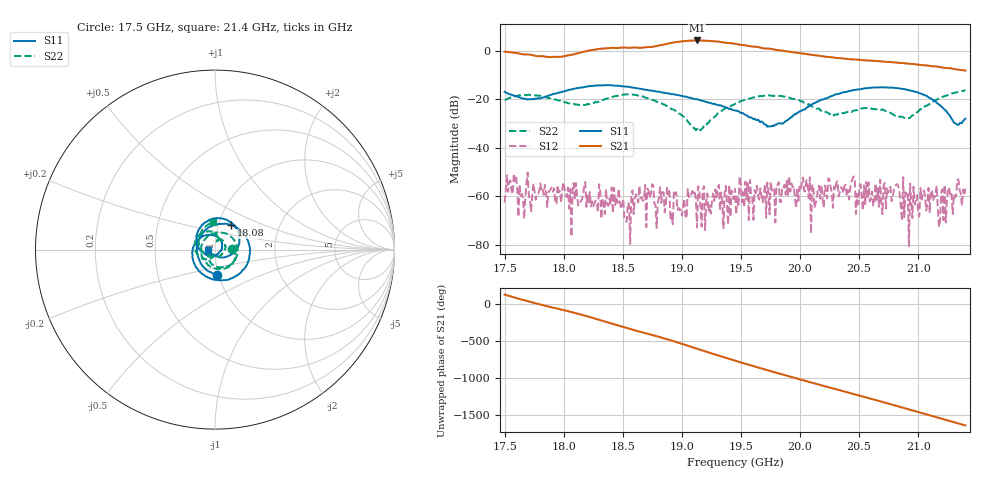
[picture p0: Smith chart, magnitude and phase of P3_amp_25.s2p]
!Created with skrf (http://scikit-rf.org).
# GHz S RI R 50.0
!freq ReS11 ImS11 ReS21 ImS21 ReS12 ImS12 ReS22 ImS22
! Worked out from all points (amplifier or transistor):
!   401 points, 17.5 GHz to 21.4 GHz, reference 50 ohm
!   highest |S21| = 4.3 dB at 19.13 GHz (marker M1)
!   |S21| within 3 dB of that: 18.66 GHz to 19.67 GHz (1.009 GHz wide, 5.26 % of centre) (the widest 1 of 3)
!   unconditionally stable (mu >= 1): start of sweep to end of sweep
!   at 18.14 GHz: K = 660.46, MAG = -0.5 dB, |S12| = -62.1 dB
!   at 19.45 GHz: K = 245.45, MAG = 3.0 dB, |S12| = -56.9 dB
!   at 21.4 GHz: K = 848.20, MAG = -8.0 dB, |S12| = -56.7 dB
!   S11 on the Smith chart (normalised r, x): 17.5 GHz: 0.98, -0.29; 18.08 GHz: 1.15, +0.32; 21.4 GHz: 0.92, -0.00
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17.5  0.00977 -0.1435  -0.6185 0.7447  -0.000119 0.000742  0.0967 0.00279
17.7535  -0.0983 0.0236  0.7726 0.198  -0.000655 0.00107  0.0743 -0.0971
18.07525  0.0882 0.1362  -0.285 -0.7889  -4.61e-05 0.00141  -0.0742 -0.0319
18.15325  0.141 0.1063  -0.754 -0.563  0.000813 0.00024  -0.0769 0.0173
18.28975  0.1957 0.00423  -0.9734 0.4943  0.000155 -0.000452  -0.0112 0.0894
18.436  0.1524 -0.1162  0.1488 1.14  0.000549 -0.000383  0.0986 0.0636
18.6115  0.018 -0.1701  1.174 0.0391  0.000191 -0.0011  0.0992 -0.0738
18.8065  -0.1061 -0.0978  0.1901 -1.289  -0.000558 -0.000784  -0.00969 -0.0861
18.99175  -0.117 0.021  -1.551 -0.237  0.000485 -0.000238  -0.0366 -0.0326
19.12825  -0.0682 0.0746  -0.7701 1.453  -0.000171 0.000154  -0.0163 -0.0186
19.30375  0.00207 0.0763  1.381 0.7344  0.00025 0.00152  -0.0191 -0.0478
19.45  0.0334 0.0494  1.003 -0.9829  0.00144 -3.45e-05  -0.0637 -0.0505
19.567  0.038 0.02  -0.2195 -1.246  0.00021 -0.00025  -0.1018 -0.0223
19.73275  0.0238 -0.0145  -1.116 -0.0856  0.00123 -0.00028  -0.1058 0.0589
19.918  -0.0253 -0.0339  -0.1695 0.9449  7.1e-05 -0.00125  -0.0325 0.1018
20.10325  -0.0793 -0.00549  0.7864 0.257  -0.00108 -0.0013  0.0153 0.0699
20.35675  -0.0959 0.0981  -0.0236 -0.7025  -0.00148 0.000162  0.0107 0.051
20.55175  -0.0262 0.1674  -0.6383 -0.0385  0.000519 0.000463  0.036 0.0554
20.7565  0.0847 0.1531  -0.03 0.5913  0.000755 0.00132  0.0542 -0.0027
20.94175  0.1349 0.0667  0.5332 0.0902  0.000759 -0.000128  -0.0177 -0.0408
21.127  0.0943 -0.0243  0.1324 -0.4625  -0.000683 -0.000446  -0.086 0.0219
21.4  -0.0402 -0.000805  -0.3724 0.1262  -0.000499 -0.00137  -0.0088 0.1555
